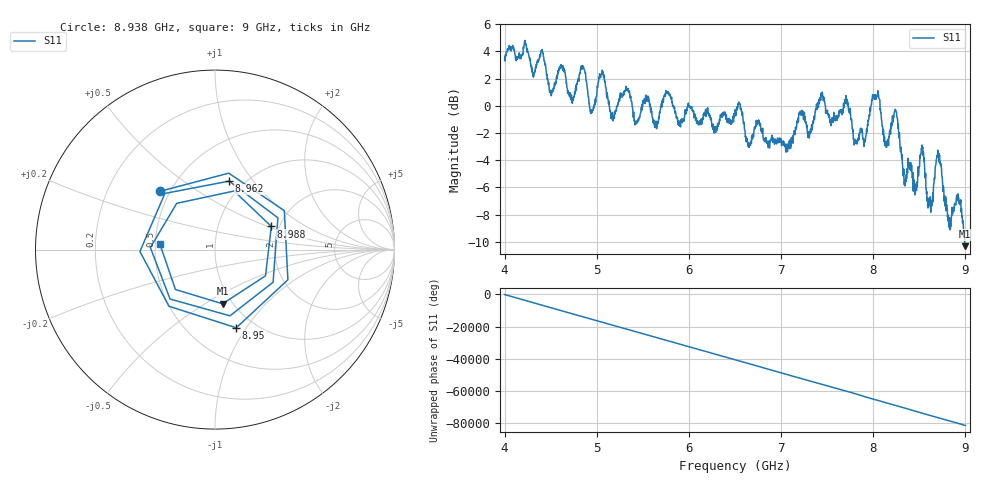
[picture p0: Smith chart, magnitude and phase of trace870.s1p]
! Created with skrf 1.8.0 (http://scikit-rf.org).
# Hz S RI R 50.0
!freq ReS11 ImS11
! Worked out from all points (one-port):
!   1601 points, 4 GHz to 9 GHz, reference 50 ohm
!   lowest |S11| = -10.3 dB at 8.994 GHz (marker M1), VSWR 1.88, Z = 45 - j29.9 ohm
!   |S11| at or under -10 dB: 8.991224 GHz to end of sweep
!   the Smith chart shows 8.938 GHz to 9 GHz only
!   S11 on the Smith chart (normalised r, x): 8.938 GHz: 0.44, +0.36; 8.95 GHz: 0.82, -0.90; 8.962 GHz: 0.85, +0.77; 8.988 GHz: 1.81, +0.53; 9 GHz: 0.53, +0.03
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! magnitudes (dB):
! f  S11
! 4 GHz  3.4
! 4.625 GHz  2.8
! 4.731 GHz  0.4
! 4.853 GHz  2.9
! 4.944 GHz  -0.3
! 5.053 GHz  2.4
! 5.166 GHz  -0.9
! 5.25 GHz  0.7
! 5.875 GHz  -0.8
! 6.5 GHz  -0.3
! 7.125 GHz  -2.3
! 7.444 GHz  0.7
! 7.75 GHz  -0.2
! 7.909 GHz  -2.5
! 8.044 GHz  0.8
! 8.141 GHz  -3.1
! 8.247 GHz  -0.4
! 8.375 GHz  -4.4
! 8.531 GHz  -2.9
! 8.616 GHz  -7.2
! 8.709 GHz  -3.8
! 8.825 GHz  -8.7
! 8.938 GHz  -7.0
! 8.95 GHz  -6.9
! 8.962 GHz  -8.2
! 8.988 GHz  -9.4
! 8.994 GHz  -10.3
! 9 GHz  -10.2
